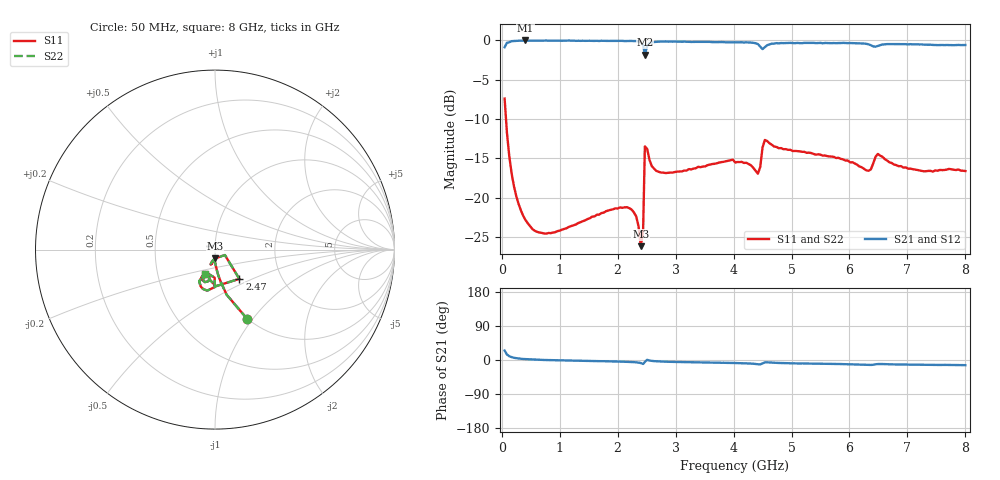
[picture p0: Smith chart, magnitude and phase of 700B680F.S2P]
!  American Technical Ceramics  Date:  3/13/98
!  One Norden Lane
!  Huntington Station,  NY.  11746-2102
!  Tel:  (516) 547-5700  Fax:  (516) 547-5748
!  Part Number  700B680F
!  Description: Porcelain, High Q, Low ESR
!  Application: Bypass, Coupling, Timing, Feedback
!  Tuning, Impedance Match, Blocking
# GHZ S DB R 50
! Freq  |S11|  S11 Ph  |S21|  S21 Ph  |S12|  S12 Ph  |S22|  S22 Ph
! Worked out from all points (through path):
!   201 points, 50 MHz to 8 GHz, reference 50 ohm
!   highest |S21| = 0.00 dB at 410 MHz (marker M1); lowest = -1.8 dB at 2.47 GHz (marker M2)
!   group delay of S21, straight-line fit = 5.91 ps
!   lowest |S11| = -26.2 dB at 2.4 GHz (marker M3), VSWR 1.10, Z = 49.7 - j4.9 ohm
!   |S11| at or under -10 dB: 74.07 MHz to end of sweep
!   |S22| runs from -26.2 to -7.4 dB; largest |S21 - S12| = 0
!   S11 on the Smith chart (normalised r, x): 50 MHz: 1.00, -0.94; 2.47 GHz: 1.23, -0.42; 8 GHz: 0.86, -0.24
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0.05  -7.40 -65.0  -0.86 25.0  -0.86 25.0  -7.40 -65.0
0.09  -11.72 -75.6  -0.30 14.6  -0.30 14.6  -11.72 -75.6
0.17  -16.88 -82.8  -0.09 7.6  -0.09 7.6  -16.88 -82.8
0.41  -22.85 -89.0  0.00 2.4  0.00 2.4  -22.85 -89.0
0.77  -24.58 -93.9  -0.01 -0.1  -0.01 -0.1  -24.58 -93.9
1.4  -22.99 -100.2  -0.04 -2.2  -0.04 -2.2  -22.99 -100.2
2.2  -21.34 -106.3  -0.07 -5.1  -0.07 -5.1  -21.34 -106.3
2.32  -22.38 -105.5  -0.08 -6.1  -0.08 -6.1  -22.38 -105.5
2.4  -26.18 -90.1  -0.19 -8.1  -0.19 -8.1  -26.18 -90.1
2.44  -24.03 -28.9  -0.59 -10.5  -0.59 -10.5  -24.03 -28.9
2.47  -13.48 -50.2  -1.81 -4.8  -1.81 -4.8  -13.48 -50.2
2.51  -13.81 -88.4  -0.69 0.4  -0.69 0.4  -13.81 -88.4
2.55  -15.21 -98.5  -0.33 -1.5  -0.33 -1.5  -15.21 -98.5
2.71  -16.72 -106.1  -0.15 -3.9  -0.15 -3.9  -16.72 -106.1
4.03  -15.54 -113.4  -0.23 -8.0  -0.23 -8.0  -15.54 -113.4
4.42  -16.96 -102.7  -0.46 -11.2  -0.46 -11.2  -16.96 -102.7
4.54  -12.66 -100.7  -0.85 -6.4  -0.85 -6.4  -12.66 -100.7
5.38  -14.43 -116.3  -0.31 -9.7  -0.31 -9.7  -14.43 -116.3
6.33  -16.59 -107.2  -0.49 -12.9  -0.49 -12.9  -16.59 -107.2
6.49  -14.44 -107.5  -0.69 -10.7  -0.69 -10.7  -14.44 -107.5
6.69  -15.51 -114.3  -0.46 -11.3  -0.46 -11.3  -15.51 -114.3
8  -16.62 -112.8  -0.58 -13.6  -0.58 -13.6  -16.62 -112.8
